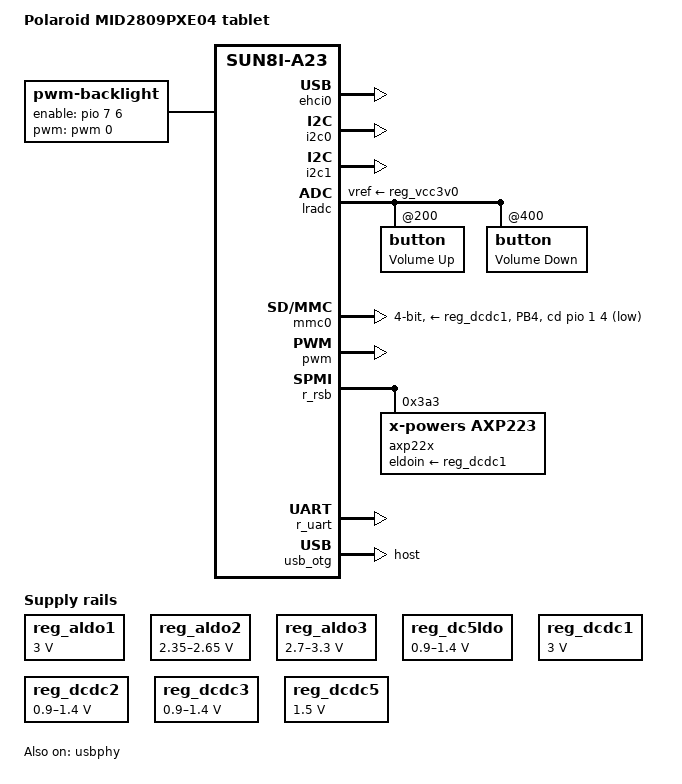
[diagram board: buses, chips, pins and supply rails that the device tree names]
/*
 * Copyright 2016 Hans de Goede <hdegoede@redhat.com>
 *
 * This file is dual-licensed: you can use it either under the terms
 * of the GPL or the X11 license, at your option. Note that this dual
 * licensing only applies to this file, and not this project as a
 * whole.
 *
 *  a) This file is free software; you can redistribute it and/or
 *     modify it under the terms of the GNU General Public License as
 *     published by the Free Software Foundation; either version 2 of the
 *     License, or (at your option) any later version.
 *
 *     This file is distributed in the hope that it will be useful,
 *     but WITHOUT ANY WARRANTY; without even the implied warranty of
 *     MERCHANTABILITY or FITNESS FOR A PARTICULAR PURPOSE.  See the
 *     GNU General Public License for more details.
 *
 * Or, alternatively,
 *
 *  b) Permission is hereby granted, free of charge, to any person
 *     obtaining a copy of this software and associated documentation
 *     files (the "Software"), to deal in the Software without
 *     restriction, including without limitation the rights to use,
 *     copy, modify, merge, publish, distribute, sublicense, and/or
 *     sell copies of the Software, and to permit persons to whom the
 *     Software is furnished to do so, subject to the following
 *     conditions:
 *
 *     The above copyright notice and this permission notice shall be
 *     included in all copies or substantial portions of the Software.
 *
 *     THE SOFTWARE IS PROVIDED "AS IS", WITHOUT WARRANTY OF ANY KIND,
 *     EXPRESS OR IMPLIED, INCLUDING BUT NOT LIMITED TO THE WARRANTIES
 *     OF MERCHANTABILITY, FITNESS FOR A PARTICULAR PURPOSE AND
 *     NONINFRINGEMENT. IN NO EVENT SHALL THE AUTHORS OR COPYRIGHT
 *     HOLDERS BE LIABLE FOR ANY CLAIM, DAMAGES OR OTHER LIABILITY,
 *     WHETHER IN AN ACTION OF CONTRACT, TORT OR OTHERWISE, ARISING
 *     FROM, OUT OF OR IN CONNECTION WITH THE SOFTWARE OR THE USE OR
 *     OTHER DEALINGS IN THE SOFTWARE.
 */

/dts-v1/;
#include "sun8i-a23.dtsi"
#include "sunxi-common-regulators.dtsi"

#include <dt-bindings/gpio/gpio.h>
#include <dt-bindings/input/input.h>
#include <dt-bindings/pinctrl/sun4i-a10.h>
#include <dt-bindings/pwm/pwm.h>

/ {
	model = "Polaroid MID2809PXE04 tablet";
	compatible = "polaroid,mid2809pxe04", "allwinner,sun8i-a23";

	aliases {
		serial0 = &r_uart;
	};

	backlight: backlight {
		compatible = "pwm-backlight";
		pinctrl-names = "default";
		pinctrl-0 = <&bl_en_pin_mid2809>;
		pwms = <&pwm 0 50000 PWM_POLARITY_INVERTED>;
		brightness-levels = <0 10 20 30 40 50 60 70 80 90 100>;
		default-brightness-level = <8>;
		enable-gpios = <&pio 7 6 GPIO_ACTIVE_HIGH>; /* PH6 */
	};

	chosen {
		stdout-path = "serial0:115200n8";
	};
};

&ehci0 {
	status = "okay";
};

&i2c0 {
	pinctrl-names = "default";
	pinctrl-0 = <&i2c0_pins_a>;
	status = "okay";
};

&i2c1 {
	pinctrl-names = "default";
	pinctrl-0 = <&i2c1_pins_a>;
	status = "okay";
};

&lradc {
	vref-supply = <&reg_vcc3v0>;
	status = "okay";

	button@200 {
		label = "Volume Up";
		linux,code = <KEY_VOLUMEUP>;
		channel = <0>;
		voltage = <200000>;
	};

	button@400 {
		label = "Volume Down";
		linux,code = <KEY_VOLUMEDOWN>;
		channel = <0>;
		voltage = <400000>;
	};
};

&mmc0 {
	pinctrl-names = "default";
	pinctrl-0 = <&mmc0_pins_a>, <&mmc0_cd_pin_mid2809>;
	vmmc-supply = <&reg_dcdc1>;
	bus-width = <4>;
	cd-gpios = <&pio 1 4 GPIO_ACTIVE_HIGH>; /* PB4 */
	cd-inverted;
	status = "okay";
};

&pio {
	bl_en_pin_mid2809: bl_en_pin@0 {
		allwinner,pins = "PH6";
		allwinner,function = "gpio_in";
		allwinner,drive = <SUN4I_PINCTRL_10_MA>;
		allwinner,pull = <SUN4I_PINCTRL_NO_PULL>;
	};

	mmc0_cd_pin_mid2809: mmc0_cd_pin@0 {
		allwinner,pins = "PB4";
		allwinner,function = "gpio_in";
		allwinner,drive = <SUN4I_PINCTRL_10_MA>;
		allwinner,pull = <SUN4I_PINCTRL_PULL_UP>;
	};
};

&pwm {
	pinctrl-names = "default";
	pinctrl-0 = <&pwm0_pins>;
	status = "okay";
};

&r_rsb {
	status = "okay";

	axp22x: pmic@3a3 {
		compatible = "x-powers,axp223";
		reg = <0x3a3>;
		interrupt-parent = <&nmi_intc>;
		interrupts = <0 IRQ_TYPE_LEVEL_LOW>;
		eldoin-supply = <&reg_dcdc1>;
	};
};

&r_uart {
	pinctrl-names = "default";
	pinctrl-0 = <&r_uart_pins_a>;
	status = "okay";
};

#include "axp22x.dtsi"

&reg_aldo1 {
	regulator-always-on;
	regulator-min-microvolt = <3000000>;
	regulator-max-microvolt = <3000000>;
	regulator-name = "vcc-io";
};

&reg_aldo2 {
	regulator-always-on;
	regulator-min-microvolt = <2350000>;
	regulator-max-microvolt = <2650000>;
	regulator-name = "vdd-dll";
};

&reg_aldo3 {
	regulator-always-on;
	regulator-min-microvolt = <2700000>;
	regulator-max-microvolt = <3300000>;
	regulator-name = "vcc-pll-avcc";
};

&reg_dc1sw {
	regulator-name = "vcc-lcd";
};

&reg_dc5ldo {
	regulator-always-on;
	regulator-min-microvolt = <900000>;
	regulator-max-microvolt = <1400000>;
	regulator-name = "vdd-cpus";
};

&reg_dcdc1 {
	regulator-always-on;
	regulator-min-microvolt = <3000000>;
	regulator-max-microvolt = <3000000>;
	regulator-name = "vcc-3v0";
};

&reg_dcdc2 {
	regulator-always-on;
	regulator-min-microvolt = <900000>;
	regulator-max-microvolt = <1400000>;
	regulator-name = "vdd-sys";
};

&reg_dcdc3 {
	regulator-always-on;
	regulator-min-microvolt = <900000>;
	regulator-max-microvolt = <1400000>;
	regulator-name = "vdd-cpu";
};

&reg_dcdc5 {
	regulator-always-on;
	regulator-min-microvolt = <1500000>;
	regulator-max-microvolt = <1500000>;
	regulator-name = "vcc-dram";
};

&reg_rtc_ldo {
	regulator-name = "vcc-rtc";
};

&simplefb_lcd {
	vcc-lcd-supply = <&reg_dc1sw>;
};

/*
 * FIXME for now we only support host mode and rely on u-boot to have
 * turned on Vbus which is controlled by the axp223 pmic on the board.
 *
 * Once we have axp223 support we should switch to fully supporting otg.
 */
&usb_otg {
	dr_mode = "host";
	status = "okay";
};

&usbphy {
	status = "okay";
};
